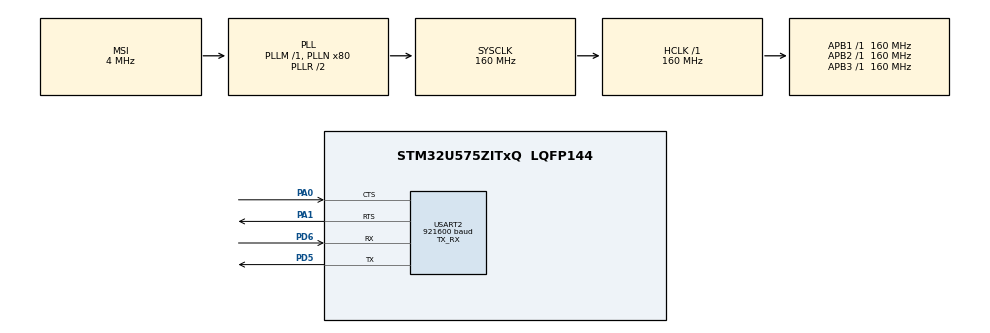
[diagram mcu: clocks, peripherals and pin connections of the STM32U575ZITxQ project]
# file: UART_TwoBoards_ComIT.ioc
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CORTEX_M33_NS.userName=CORTEX_M33
Mcu.Family=STM32U5
Mcu.Name=STM32U575ZITxQ
Mcu.Package=LQFP144
NVIC.PriorityGroup=NVIC_PRIORITYGROUP_4
NVIC.USART2_IRQn=true\:0\:0\:false\:false\:true\:true\:true\:true
PA0.Mode=CTS_RTS
PA0.Signal=USART2_CTS
PA1.Mode=CTS_RTS
PA1.Signal=USART2_RTS
PD5.GPIO_PuPd=GPIO_NOPULL
PD5.Mode=Asynchronous
PD5.Signal=USART2_TX
PD6.GPIO_PuPd=GPIO_NOPULL
PD6.Mode=Asynchronous
PD6.Signal=USART2_RX
PWR.PowerMode=PWR_SMPS_SUPPLY
ProjectManager.HeapSize=0x200
ProjectManager.StackSize=0x400
ProjectManager.TargetToolchain=STM32CubeIDE
RCC.ADCFreq_Value=16000000
RCC.AHBFreq_Value=160000000
RCC.APB1Freq_Value=160000000
RCC.APB1TimFreq_Value=160000000
RCC.APB2Freq_Value=160000000
RCC.APB2TimFreq_Value=160000000
RCC.APB3Freq_Value=160000000
RCC.CortexFreq_Value=160000000
RCC.DACCLockSelectionVirtual=RCC_DAC1CLKSOURCE_LSI
RCC.EPOD_VALUE=4000000
RCC.HCLKFreq_Value=160000000
RCC.HSE_VALUE=16000000
RCC.HSI48_VALUE=48000000
RCC.HSI_VALUE=16000000
RCC.LSE_VALUE=32768
RCC.LSIDIV_VALUE=32000
RCC.MSI_VALUE=4000000
RCC.PLLN=80
RCC.SYSCLKFreq_VALUE=160000000
RCC.SYSCLKSource=RCC_SYSCLKSOURCE_PLLCLK
RCC.USBFreq_Value=48000000
RCC.VCOOutputFreq_Value=320000000
USART2.AutoBaudRateEnableParam=UART_ADVFEATURE_AUTOBAUDRATE_DISABLE
USART2.BaudRate=921600
USART2.DMADisableonRxErrorParam=ADVFEATURE_DMA_ENABLEONRXERROR
USART2.DataInvertParam=ADVFEATURE_DATAINV_DISABLE
USART2.MSBFirstParam=ADVFEATURE_MSBFIRST_DISABLE
USART2.Mode=MODE_TX_RX
USART2.OneBitSampling=UART_ONE_BIT_SAMPLE_DISABLE
USART2.OverSampling=UART_OVERSAMPLING_16
USART2.OverrunDisableParam=ADVFEATURE_OVERRUN_ENABLE
USART2.Parity=PARITY_NONE
USART2.RxPinLevelInvertParam=ADVFEATURE_RXINV_DISABLE
USART2.StopBits=STOPBITS_1
USART2.SwapParam=ADVFEATURE_SWAP_DISABLE
USART2.TxPinLevelInvertParam=ADVFEATURE_TXINV_DISABLE
USART2.VirtualMode-Asynchronous=VM_ASYNC
USART2.WordLength=WORDLENGTH_8B
VP_ICACHE_VS_ICACHE.Mode=DirectMappedCache
VP_LPBAMQUEUE_VS_QUEUE.Mode=QUEUEMODE
VP_LPBAM_VS_SIG1.Mode=SmartRun
VP_LPBAM_VS_SIG4.Mode=LPDMA1
VP_MEMORYMAP_VS_MEMORYMAP.Mode=CurAppReg
VP_PWR_VS_DBSignals.Mode=DisableDeadBatterySignals
VP_PWR_VS_LPOM.Mode=PowerOptimisation
VP_PWR_VS_SECSignals.Mode=Security/Privilege
board=custom

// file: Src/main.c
/* USER CODE BEGIN Header */
/**
  ******************************************************************************
  * @file    UART/UART_TwoBoards_ComIT/Src/main.c
  * @author  MCD Application Team
  * @brief   This sample code shows how to use UART HAL API to transmit
  *          and receive a data buffer with a communication process based on
  *          IT transfer.
  *          The communication is done using 2 Boards.
  ******************************************************************************
  * @attention
  *
  * Copyright (c) 2021 STMicroelectronics.
  * All rights reserved.
  *
  * This software is licensed under terms that can be found in the LICENSE file
  * in the root directory of this software component.
  * If no LICENSE file comes with this software, it is provided AS-IS.
  *
  ******************************************************************************
  */
/* USER CODE END Header */
#include "main.h"

/* USER CODE BEGIN PD */
//#define TRANSMITTER_BOARD
/* USER CODE END PD */

UART_HandleTypeDef huart2;

/* USER CODE BEGIN PV */
__IO ITStatus UartReady = RESET;
__IO uint32_t UserButtonStatus = 0;  /* set to 1 after User Button interrupt  */

/* Buffer used for transmission */
uint8_t aTxBuffer[] = " ****UART_TwoBoards_ComIT****  ****UART_TwoBoards_ComIT****  ****UART_TwoBoards_ComIT**** ";

/* Buffer used for reception */
uint8_t aRxBuffer[RXBUFFERSIZE];

/* USER CODE END PV */

void SystemClock_Config(void);
static void SystemPower_Config(void);
static void MX_GPIO_Init(void);
static void MX_ICACHE_Init(void);
static void MX_USART2_UART_Init(void);

int main(void)
{
	 /* USER CODE BEGIN 1 */
	  /* STM32U5xx HAL library initialization:
	       - Configure the Flash prefetch
	       - Configure the Systick to generate an interrupt each 1 msec
	       - Set NVIC Group Priority to 3
	       - Low Level Initialization
	     */
	  /* USER CODE END 1 */

	  /* MCU Configuration--------------------------------------------------------*/

	  /* Reset of all peripherals, Initializes the Flash interface and the Systick. */
	  HAL_Init();

	  /* Configure the system clock */
	  SystemClock_Config();

	  /* Configure the System Power */
	  SystemPower_Config();

	  /* Initialize all configured peripherals */
	  MX_GPIO_Init();
	  MX_ICACHE_Init();
	  MX_USART2_UART_Init();
	  /* USER CODE BEGIN 2 */
	  /* Configure LED2 and LED3 */
	  BSP_LED_Init(LED2);
	  BSP_LED_Init(LED3);

	  while (1)
	  {
		  /* Reset transmission flag */
		  UartReady = RESET;

		  /*##-1- Put UART peripheral in reception process ###########################*/
		  if (HAL_UART_Receive_IT(&huart2, (uint8_t *)aRxBuffer, RXBUFFERSIZE) != HAL_OK)
		  {
		    Error_Handler();
		  }

		  /*##-2- Wait for the end of the transfer ###################################*/
		  /* While waiting for message to come from the other board, LED2 is
		     blinking according to the following pattern: a double flash every half-second */
		  while (UartReady != SET);

	  }
	  /* USER CODE END 3 */
}

void SystemClock_Config(void)
{
  RCC_OscInitTypeDef RCC_OscInitStruct = {0};
  RCC_ClkInitTypeDef RCC_ClkInitStruct = {0};

  /** Configure the main internal regulator output voltage
  */
  if (HAL_PWREx_ControlVoltageScaling(PWR_REGULATOR_VOLTAGE_SCALE1) != HAL_OK)
  {
    Error_Handler();
  }

  /** Initializes the CPU, AHB and APB buses clocks
  */
  RCC_OscInitStruct.OscillatorType = RCC_OSCILLATORTYPE_MSI;
  RCC_OscInitStruct.MSIState = RCC_MSI_ON;
  RCC_OscInitStruct.MSICalibrationValue = RCC_MSICALIBRATION_DEFAULT;
  RCC_OscInitStruct.MSIClockRange = RCC_MSIRANGE_4;
  RCC_OscInitStruct.PLL.PLLState = RCC_PLL_ON;
  RCC_OscInitStruct.PLL.PLLSource = RCC_PLLSOURCE_MSI;
  RCC_OscInitStruct.PLL.PLLMBOOST = RCC_PLLMBOOST_DIV1;
  RCC_OscInitStruct.PLL.PLLM = 1;
  RCC_OscInitStruct.PLL.PLLN = 80;
  RCC_OscInitStruct.PLL.PLLP = 2;
  RCC_OscInitStruct.PLL.PLLQ = 2;
  RCC_OscInitStruct.PLL.PLLR = 2;
  RCC_OscInitStruct.PLL.PLLRGE = RCC_PLLVCIRANGE_0;
  RCC_OscInitStruct.PLL.PLLFRACN = 0;
  if (HAL_RCC_OscConfig(&RCC_OscInitStruct) != HAL_OK)
  {
    Error_Handler();
  }

  /** Initializes the CPU, AHB and APB buses clocks
  */
  RCC_ClkInitStruct.ClockType = RCC_CLOCKTYPE_HCLK|RCC_CLOCKTYPE_SYSCLK
                              |RCC_CLOCKTYPE_PCLK1|RCC_CLOCKTYPE_PCLK2
                              |RCC_CLOCKTYPE_PCLK3;
  RCC_ClkInitStruct.SYSCLKSource = RCC_SYSCLKSOURCE_PLLCLK;
  RCC_ClkInitStruct.AHBCLKDivider = RCC_SYSCLK_DIV1;
  RCC_ClkInitStruct.APB1CLKDivider = RCC_HCLK_DIV1;
  RCC_ClkInitStruct.APB2CLKDivider = RCC_HCLK_DIV1;
  RCC_ClkInitStruct.APB3CLKDivider = RCC_HCLK_DIV1;

  if (HAL_RCC_ClockConfig(&RCC_ClkInitStruct, FLASH_LATENCY_4) != HAL_OK)
  {
    Error_Handler();
  }
}

/**
  * @brief Power Configuration
  * @retval None
  */
static void SystemPower_Config(void)
{

  /*
   * Disable the internal Pull-Up in Dead Battery pins of UCPD peripheral
   */
  HAL_PWREx_DisableUCPDDeadBattery();

  /*
   * Switch to SMPS regulator instead of LDO
   */
  if (HAL_PWREx_ConfigSupply(PWR_SMPS_SUPPLY) != HAL_OK)
  {
    Error_Handler();
  }
}

static void MX_ICACHE_Init(void)
{

  /** Enable instruction cache in 1-way (direct mapped cache)
  */
  if (HAL_ICACHE_ConfigAssociativityMode(ICACHE_1WAY) != HAL_OK)
  {
    Error_Handler();
  }
  if (HAL_ICACHE_Enable() != HAL_OK)
  {
    Error_Handler();
  }

}

static void MX_USART2_UART_Init(void)
{

  huart2.Instance = USART2;
  huart2.Init.BaudRate = 921600;
  huart2.Init.WordLength = UART_WORDLENGTH_8B;
  huart2.Init.StopBits = UART_STOPBITS_1;
  huart2.Init.Parity = UART_PARITY_NONE;
  huart2.Init.Mode = UART_MODE_TX_RX;
  huart2.Init.HwFlowCtl = UART_HWCONTROL_RTS_CTS;
  huart2.Init.OverSampling = UART_OVERSAMPLING_16;
  huart2.Init.OneBitSampling = UART_ONE_BIT_SAMPLE_DISABLE;
  huart2.Init.ClockPrescaler = UART_PRESCALER_DIV1;
  huart2.AdvancedInit.AdvFeatureInit = UART_ADVFEATURE_NO_INIT;
  if (HAL_UART_Init(&huart2) != HAL_OK)
  {
    Error_Handler();
  }
  if (HAL_UARTEx_SetTxFifoThreshold(&huart2, UART_TXFIFO_THRESHOLD_1_8) != HAL_OK)
  {
    Error_Handler();
  }
  if (HAL_UARTEx_SetRxFifoThreshold(&huart2, UART_RXFIFO_THRESHOLD_1_8) != HAL_OK)
  {
    Error_Handler();
  }
  if (HAL_UARTEx_DisableFifoMode(&huart2) != HAL_OK)
  {
    Error_Handler();
  }

}

static void MX_GPIO_Init(void)
{

  /* GPIO Ports Clock Enable */
  __HAL_RCC_GPIOA_CLK_ENABLE();
  __HAL_RCC_GPIOD_CLK_ENABLE();

}

/* USER CODE BEGIN 4 */
/**
  * @brief  Tx Transfer completed callback
  * @param  UartHandle: UART handle.
  * @note   This example shows a simple way to report end of IT Tx transfer, and
  *         you can add your own implementation.
  * @retval None
  */
void HAL_UART_TxCpltCallback(UART_HandleTypeDef *UartHandle)
{
  /* Set transmission flag: transfer complete */
  /* Do Nothing here */
}

/**
  * @brief  Rx Transfer completed callback
  * @param  UartHandle: UART handle
  * @note   This example shows a simple way to report end of DMA Rx transfer, and
  *         you can add your own implementation.
  * @retval None
  */
void HAL_UART_RxCpltCallback(UART_HandleTypeDef *UartHandle)
{
  /* Set transmission flag: transfer complete */
  UartReady = SET;
  if (HAL_UART_Transmit_IT(&huart2, (uint8_t *)aTxBuffer, TXBUFFERSIZE) != HAL_OK)
  {
    Error_Handler();
  }
}

/**
  * @brief  UART error callbacks
  * @param  UartHandle: UART handle
  * @note   This example shows a simple way to report transfer error, and you can
  *         add your own implementation.
  * @retval None
  */
void HAL_UART_ErrorCallback(UART_HandleTypeDef *UartHandle)
{
  Error_Handler();
}

/**
  * @brief EXTI line detection callbacks
  * @param GPIO_Pin: Specifies the pins connected EXTI line
  * @retval None
  */
void HAL_GPIO_EXTI_Rising_Callback(uint16_t GPIO_Pin)
{
  if (GPIO_Pin == BUTTON_USER_PIN)
  {
    UserButtonStatus = 1;
  }
}

/* USER CODE END 4 */

void Error_Handler(void)
{
  /* USER CODE BEGIN Error_Handler_Debug */
  /* User can add his own implementation to report the HAL error return state */
  /* Turn LED3 on */
  BSP_LED_On(LED3);
  while (1);
  /* USER CODE END Error_Handler_Debug */
}
